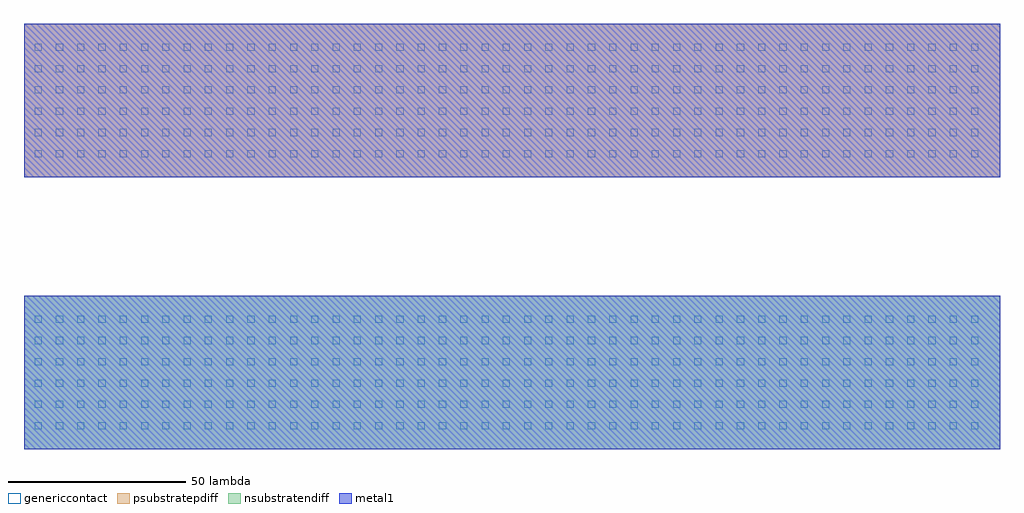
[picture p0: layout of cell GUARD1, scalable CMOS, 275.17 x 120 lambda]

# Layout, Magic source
magic
tech scmos
magscale 1 6
<< psubstratepdiff >>
rect -484 496 1167 756
<< nsubstratendiff >>
rect -484 36 1167 296
<< metal1 >>
rect -484 496 1167 756
rect -484 36 1167 296
use CONT  CONT_0
array 0 44 36 0 5 36
transform 1 0 -460 0 1 76
box -6 -6 6 6
use CONT  CONT_1
array 0 44 36 0 5 36
transform 1 0 -460 0 1 536
box -6 -6 6 6
<< end >>

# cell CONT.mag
magic
tech scmos
<< genericcontact >>
rect -1 -1 1 1
<< end >>
